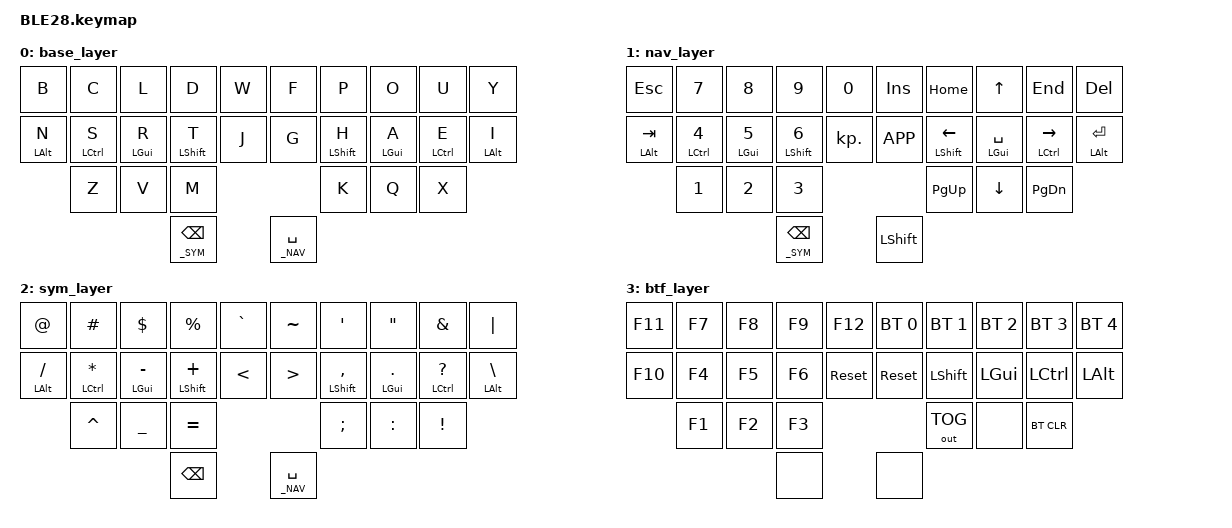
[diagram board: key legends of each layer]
/*
 * Copyright (c) 2021 The ZMK Contributors
 *
 * SPDX-License-Identifier: MIT
 */

#include <behaviors.dtsi>
#include <dt-bindings/zmk/keys.h>
#include <dt-bindings/zmk/bt.h>
#include <dt-bindings/zmk/outputs.h>
#include "keypos_28keys.h"

#define _BASE    0
#define _NAV     1
#define _SYM     2
#define _BTF     3

// &sk {
//     quick-release;
// };

// &sl {
//     release-after-ms = <300>;
// };

/ {
// ------------------------- MACROS --------------------------------
    // macros {
        // to_BASE: to_BASE {
        //     compatible = "zmk,behavior-macro";
        //     #binding-cells = <0>;
        //     wait-ms = <0>;
        //     tap-ms = <0>;
        //     bindings
        //         = <&rgb_ug RGB_OFF>
        //         , <&tog _NAV>
        //         ;
        // };

        // mo_SYM: mo_SYM {
        //     compatible = "zmk,behavior-macro";
        //     #binding-cells = <0>;
        //     wait-ms = <0>;
        //     tap-ms = <0>;
        //     bindings
        //         = <&macro_tap &rgb_ug RGB_SYM>
        //         , <&macro_press &mo _SYM>
        //         , <&macro_pause_for_release>
        //         , <&macro_tap &rgb_ug RGB_BASE>
        //         , <&macro_release &mo _SYM>
        //         ;
        // };

        // to_SYM: to_SYM {
        //     compatible = "zmk,behavior-macro";
        //     #binding-cells = <0>;
        //     wait-ms = <0>;
        //     tap-ms = <0>;
        //     bindings
        //         = <&rgb_ug RGB_ON>
        //         , <&rgb_ug RGB_SYM>
        //         , <&to _SYM>
        //         ;
        // };

        // to_NAV: to_NAV {
        //     compatible = "zmk,behavior-macro";
        //     #binding-cells = <0>;
        //     wait-ms = <0>;
        //     tap-ms = <0>;
        //     bindings
        //         = <&rgb_ug RGB_ON>
        //         , <&rgb_ug RGB_NAV>
        //         , <&tog _NAV>
        //         ;
        // };

        // mo_NAV: mo_NAV {
        //     compatible = "zmk,behavior-macro";
        //     #binding-cells = <0>;
        //     wait-ms = <0>;
        //     tap-ms = <0>;
        //     bindings
        //         = <&macro_tap &rgb_ug RGB_NAV>
        //         , <&macro_press &mo _NAV>
        //         , <&macro_pause_for_release>
        //         , <&macro_tap &rgb_ug RGB_BASE>
        //         , <&macro_release &mo _NAV>
        //         ;
        // };

        // mo_BTF: mo_BTF {
        //     compatible = "zmk,behavior-macro";
        //     #binding-cells = <0>;
        //     wait-ms = <0>;
        //     tap-ms = <0>;
        //     bindings
        //         = <&macro_tap &rgb_ug RGB_ON>
        //         , <&macro_tap &rgb_ug RGB_BTF>
        //         , <&macro_press &mo _BTF>
        //         , <&macro_pause_for_release>
        //         , <&macro_tap &rgb_ug RGB_OFF>
        //         , <&macro_release &mo _BTF>
        //         ;
        // };

        // to_BOOT: to_BOOT {
        //     compatible = "zmk,behavior-macro";
        //     #binding-cells = <0>;
        //     bindings
        //         = <&rgb_ug RGB_COLOR_HSB(0,100,50)>
        //         , <&rgb_ug RGB_ON>
        //         , <&bootloader>
        //         ;
        // };
    // };

    combos {
        compatible = "zmk,combos";
// ------------------------- LAYER COMBOS --------------------------------
        combo_BOOT {
            timeout-ms = <50>;
            key-positions = <LMC RMC>;
            bindings = <&bootloader>;
            layers = <_BTF>;
        };

        combo_BTF {
            timeout-ms = <50>;
            key-positions = <LTB RTB>;
            bindings = <&mo _BTF>;
            layers = <_BASE _SYM _NAV>;
        };

        combo_NAVR {
            timeout-ms = <50>;
            key-positions = <RMI RMM RMR>;
            bindings = <&to _NAV>;
            layers = <_BASE _SYM>;
        };

        combo_NAVL {
            timeout-ms = <50>;
            key-positions = <LMI LMM LMR>;
            bindings = <&to _NAV>;
            layers = <_BASE _SYM>;
        };

        combo_BASER {
            timeout-ms = <50>;
            key-positions = <RMI RMM RMR>;
            bindings = <&to _BASE>;
            layers = <_NAV>;
        };

        combo_BASEL {
            timeout-ms = <50>;
            key-positions = <LMI LMM LMR>;
            bindings = <&to _BASE>;
            layers = <_NAV>;
        };

// ------------------------- VOLUME COMBOS --------------------------------
        combo_V_UP {
            timeout-ms = <40>;
            key-positions = <RTI RTM>;
            bindings = <&kp C_VOL_UP>;
            require-prior-idle-ms = <200>;
            layers = <_NAV>;
        };

        combo_V_DN {
            timeout-ms = <40>;
            key-positions = <RBI RBM>;
            bindings = <&kp C_VOL_DN>;
            require-prior-idle-ms = <200>;
            layers = <_NAV>;
        };

        combo_MUTE {
            timeout-ms = <40>;
            key-positions = <RMI RMM>;
            bindings = <&kp C_MUTE>;
            require-prior-idle-ms = <200>;
            layers = <_NAV>;
        };

// ------------------------- MODS COMBOS --------------------------------
        combo_CAPS {
            timeout-ms = <50>;
            key-positions = <LTI RTI>;
            bindings = <&caps_word>;
            require-prior-idle-ms = <200>;
            layers = <_BASE>;
        };

        // combo_RALTL {
        //     timeout-ms = <40>;
        //     key-positions = <LMP LTP>;
        //     bindings = <&kp RALT>;
        //     require-prior-idle-ms = <200>;
        //     //layers = <_BASE>;
        // };

        // combo_RALTR {
        //     timeout-ms = <40>;
        //     key-positions = <LMP RTP>;
        //     bindings = <&kp RALT>;
        //     require-prior-idle-ms = <200>;
        //     //layers = <_BASE>;
        // };

// ------------------------- CHARACTER COMBOS --------------------------------
        combo_LPAR {
            timeout-ms = <40>;
            key-positions = <LMM LMI>;
            bindings = <&kp LPAR>;
            layers = <_BASE _SYM>;
        };

        combo_RPAR {
            timeout-ms = <40>;
            key-positions = <RMI RMM>;
            bindings = <&kp RPAR>;
            layers = <_BASE _SYM>;
        };

        combo_LBRC {
            timeout-ms = <40>;
            key-positions = <LTM LTI>;
            bindings = <&kp LBRC>;
            layers = <_BASE _SYM>;
        };

        combo_RBRC {
            timeout-ms = <40>;
            key-positions = <RTI RTM>;
            bindings = <&kp RBRC>;
            layers = <_BASE _SYM>;
        };

        combo_LBKT {
            timeout-ms = <40>;
            key-positions = <LBM LBI>;
            bindings = <&kp LBKT>;
            layers = <_BASE _SYM>;
        };

        combo_RBKT {
            timeout-ms = <40>;
            key-positions = <RBI RBM>;
            bindings = <&kp RBKT>;
            layers = <_BASE _SYM>;
        };

        combo_PSCRN {
            timeout-ms = <40>;
            key-positions = <LBR LBI>;
            bindings = <&kp PSCRN>;
            layers = <_BASE _NAV>;
            require-prior-idle-ms = <200>;
        };

        combo_CP_M {
            timeout-ms = <40>;
            key-positions = <RTC RMC>;
            bindings = <&mac_cp>;
            layers = <_NAV>;
            require-prior-idle-ms = <200>;
        };

        combo_CP_W {
            timeout-ms = <40>;
            key-positions = <LTC LMC>;
            bindings = <&win_cp>;
            layers = <_NAV>;
            require-prior-idle-ms = <200>;
        };

        // combo_PASTA_M {
        //     timeout-ms = <40>;
        //     key-positions = <RBM RBR>;
        //     bindings = <&kp LG(V)>;
        //     layers = <_BASE>;
        //     require-prior-idle-ms = <200>;
        // };

        // combo_PASTA_W {
        //     timeout-ms = <40>;
        //     key-positions = <LBM LBR>;
        //     bindings = <&kp LC(V)>;
        //     layers = <_BASE>;
        //     require-prior-idle-ms = <200>;
        // };

        // combo_GT {
        //     timeout-ms = <45>;
        //     key-positions = <RBM RBR>;
        //     bindings = <&kp GT>;
        //     layers = <_BASE _SYM>;
        // };

        // combo_LT {
        //     timeout-ms = <45>;
        //     key-positions = <LBM LBR>;
        //     bindings = <&kp LT>;
        //     layers = <_BASE _SYM>;
        // };

        // combo_FSLH {
        //     timeout-ms = <45>;
        //     key-positions = <RMM RMR>;
        //     bindings = <&kp FSLH>;
        //     layers = <_BASE _SYM>;
        // };

        // combo_BSLH {
        //     timeout-ms = <45>;
        //     key-positions = <LMR LMM>;
        //     bindings = <&kp BSLH>;
        //     layers = <_BASE _SYM>;
        // };
    };

    behaviors {
// ------------------------- TAP-DANCES --------------------------------
        win_cp: win_cp {
            compatible = "zmk,behavior-tap-dance";
            #binding-cells = <0>;
            tapping-term-ms = <400>;
            bindings = <&kp LC(C)>, <&kp LC(V)>;
        };

        mac_cp: mac_cp {
            compatible = "zmk,behavior-tap-dance";
            #binding-cells = <0>;
            tapping-term-ms = <400>;
            bindings = <&kp LG(C)>, <&kp LG(V)>;
        };

// ------------------------- HOLD-TAPS --------------------------------
        /* left-hand HRMs */
        hml: hrm_left {
            compatible = "zmk,behavior-hold-tap";
            #binding-cells = <2>;
            flavor = "tap-preferred";
            tapping-term-ms = <300>;
            quick-tap-ms = <170>;                // repeat on tap-into-hold
            require-prior-idle-ms = <120>;
            bindings = <&kp>, <&kp>;
            hold-trigger-key-positions = <KEYS_R THUMBS>;
            hold-trigger-on-release;             // delay positional check until key-release
        };

        /* right-hand HRMs */
        hmr: hrm_right {
            compatible = "zmk,behavior-hold-tap";
            #binding-cells = <2>;
            flavor = "tap-preferred";
            tapping-term-ms = <300>;
            quick-tap-ms = <170>;                // repeat on tap-into-hold
            require-prior-idle-ms = <120>;
            bindings = <&kp>, <&kp>;
            hold-trigger-key-positions = <KEYS_L THUMBS>;
            hold-trigger-on-release;             // delay positional check until key-release
        };

        hsl: hrs_left {
            compatible = "zmk,behavior-hold-tap";
            #binding-cells = <2>;
            flavor = "balanced";
            tapping-term-ms = <300>;
            quick-tap-ms = <170>;                // repeat on tap-into-hold
            require-prior-idle-ms = <120>;
            bindings = <&kp>, <&kp>;
            hold-trigger-key-positions = <KEYS_R THUMBS>;
            hold-trigger-on-release;             // delay positional check until key-release
        };

        hsr: hrs_right {
            compatible = "zmk,behavior-hold-tap";
            #binding-cells = <2>;
            flavor = "balanced";
            tapping-term-ms = <300>;
            quick-tap-ms = <170>;                // repeat on tap-into-hold
            require-prior-idle-ms = <120>;
            bindings = <&kp>, <&kp>;
            hold-trigger-key-positions = <KEYS_L THUMBS>;
            hold-trigger-on-release;             // delay positional check until key-release
        };

        bst: backspace-tap {
            compatible = "zmk,behavior-hold-tap";
            #binding-cells = <2>;
            flavor = "balanced";
            tapping-term-ms = <200>;
            quick-tap-ms = <170>;
            //require-prior-idle-ms = <100>;
            bindings = <&mo>, <&kp>;
        };

        spt: space-tap {
            compatible = "zmk,behavior-hold-tap";
            #binding-cells = <2>;
            flavor = "balanced";
            tapping-term-ms = <250>;
            quick-tap-ms = <200>;
            //require-prior-idle-ms = <100>;
            bindings = <&mo>, <&kp>;
        };

// ------------------------- MOD-MORPHS --------------------------------
        // com_sem: comma_semicolon {
        //     compatible = "zmk,behavior-mod-morph";
        //     #binding-cells = <0>;
        //     bindings = <&kp COMMA>, <&kp SEMI>;
        //     mods = <(MOD_LSFT)>;
        // };

        // dot_col: dot_colon {
        //     compatible = "zmk,behavior-mod-morph";
        //     #binding-cells = <0>;
        //     bindings = <&kp DOT>, <&kp COLON>;
        //     mods = <(MOD_LSFT)>;
        // };
        
    };

    keymap {
        compatible = "zmk,keymap";

                base_layer {
// -------------------------------    -------------------------------
// |  B  |  C  |  L  |  D  |  W  |    |  F  |  P  |  O  |  U  |  Y  |
// |  N  |  S  |  R  |  T  |  J  |    |  G  |  H  |  A  |  E  |  I  |
//       |  Z  |  V  |  M  |                |  K  |  Q  |  X  |
//                  | _SYM(BSPC) |    | _NAV(SPC) |
                        bindings = <
   &kp B       &kp C        &kp L       &kp D        &kp W    &kp F  &kp P        &kp O       &kp U        &kp Y
   &hml LALT N &hml LCTRL S &hml LGUI R &hsl LSHFT T &kp J    &kp G  &hsr LSHFT H &hmr LGUI A &hmr LCTRL E &hmr LALT I 
               &kp Z        &kp V       &kp M                        &kp K        &kp Q       &kp X
                                            &bst _SYM BSPC    &spt _NAV SPACE
                        >;
                };

                nav_layer {
// -------------------------------    ----------------------------------
// | ESC |  7  |  8  |  9  |  0  |    | INS | HOME |  UP  | END  | DEL |
// | TAB |  4  |  5  |  6  |  ., |    | APP | LEFT | SPC  | RGHT | RET |
//       |  1  |  2  |  3  |                | PGUP | DOWN | PGDN |
//                        | BSPC |    | SHFT |
                        bindings = <
   &kp ESC       &kp N7        &kp N8       &kp N9        &kp N0       &kp INS   &kp HOME        &kp UP          &kp END          &kp DEL
   &hml LALT TAB &hml LCTRL N4 &hml LGUI N5 &hsl LSHFT N6 &kp KP_DOT   &kp K_APP &hsr LSHFT LEFT &hmr LGUI SPACE &hmr LCTRL RIGHT &hmr LALT RET
                 &kp N1        &kp N2       &kp N3                               &kp PG_UP       &kp DOWN        &kp PG_DN
                                                     &bst _SYM BSPC    &kp LSHFT
                        >;
                };
                
                sym_layer {
// -------------------------------    -------------------------------
// |  @  |  #  |  $  |  %  |  `  |    |  ~  |  '  |  "  |  &  |  |  |
// |  /  |  *  |  -  |  +  |  <  |    |  >  |  ,  |  .  |  ?  |  \  |
//       |  ^  |  _  |  =  |                |  ;  |  :  |  !  |
//                        | BSPC |    | SPC |
                        bindings = <
   &kp AT          &kp HASH        &kp DLLR        &kp PRCNT       &kp GRAVE    &kp TILDE  &kp SQT          &kp DQT       &kp AMPS         &kp PIPE
   &hml LALT SLASH &hml LCTRL STAR &hml LGUI MINUS &hsl LSHFT PLUS &kp LT       &kp GT     &hsr LSHFT COMMA &hmr LGUI DOT &hmr LCTRL QMARK &hmr LALT BSLH
                   &kp CARET       &kp UNDER       &kp EQUAL                               &kp SEMI         &kp COLON     &kp EXCL
                                                                   &kp BSPC     &spt _NAV SPACE
                        >;
                };

                btf_layer {
// ----------------------------    ----------------------------------
// | F11 | F7 | F8 | F9 | F12 |    | BT1 | BT2  | BT3 |  BT4  | BT5 |
// | F10 | F4 | F5 | F6 | RST |    | RST | SHFT | GUI | CTRL  | ALT |
//       | F1 | F2 | F3 |                | USB  |     | BTCLR |
//                      |     |    |     |
                        bindings = <
   &kp F11 &kp F7 &kp F8 &kp F9 &kp F12       &bt BT_SEL 0 &bt BT_SEL 1 &bt BT_SEL 2 &bt BT_SEL 3 &bt BT_SEL 4
   &kp F10 &kp F4 &kp F5 &kp F6 &sys_reset    &sys_reset   &kp LSHFT    &kp LGUI     &kp LCTRL    &kp LALT
           &kp F1 &kp F2 &kp F3                            &out OUT_TOG &none        &bt BT_CLR
                                &none         &none
                        >;
                };                
    };
};
